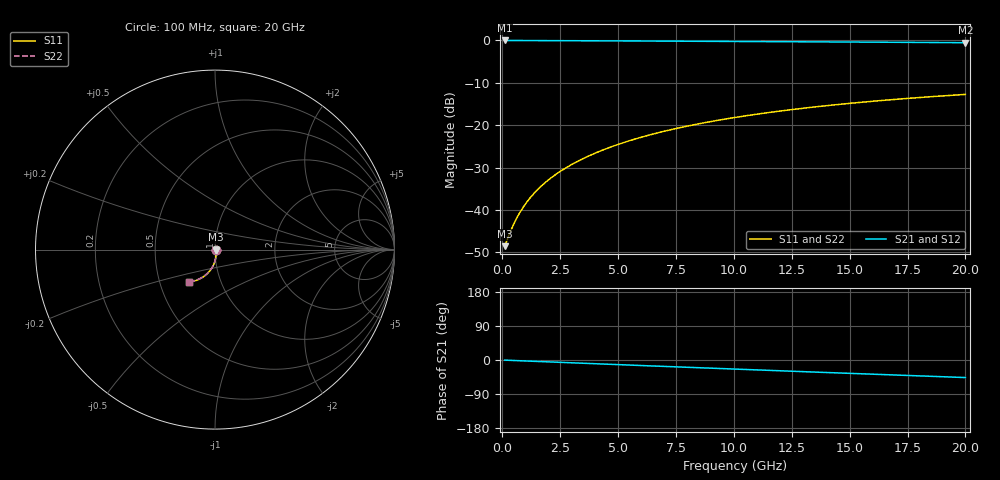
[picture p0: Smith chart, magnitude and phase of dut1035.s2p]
! Touchstone file exported from HFSS 2026.1.0
!  File:  C:/ffzhzh/LocalFiles/Ansys_Project_Files/temp_train_BSMRDL_1035_1783173664_55132.aedt
!  Generated:  10:02:14 PM Jul  4, 2026
!  Design:  BSMRDL
!  Project:  temp_train_BSMRDL_1035_1783173664_55132
! Variables:
!  h_bsmrdl = 5.49um
!  h_ox = 20um
!  h_rdl = 5um
!  h_sub = 80um
!  h_tmrdl = 5um
!  h_tsv = 80um
!  h_via = 3um
!  l_bsmrdl = 805.11um
!  l_sub = 1205.11um
!  l_tmrdl = 200um
!  m_sub = 200um
!  pitch = 17.16um
!  r_tsv = 6um
!  s_tmrdl = 10um
!  w_bsmrdl = 14.9um
!  w_sub = 500um
!  w_tmrdl = 12um
!  x_tsv_center1 = 206um
!  x_tsv_center2 = 1026.01um
!  x_tsv_center3 = 1238.01um
!  x_tsv_center4 = 2058.02um
!  x_tsv_center5 = 2270.02um
!  x_tsv_center6 = 3090.03um
# GHz S MA R 50.000000
! Terminal data exported
! Port[1] = BSM_RDL1_1_T1
! Port[2] = BSM_RDL1_1_T2
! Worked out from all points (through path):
!   200 points, 100 MHz to 20 GHz, reference 50 ohm
!   highest |S21| = -0.03 dB at 100 MHz (marker M1); lowest = -0.6 dB at 20 GHz (marker M2)
!   group delay of S21, straight-line fit = 6.41 ps
!   lowest |S11| = -48.5 dB at 100 MHz (marker M3), VSWR 1.01, Z = 50.4 - j0.0308 ohm
!   |S11| at or under -10 dB: start of sweep to end of sweep
!   |S22| runs from -48.5 to -12.8 dB; largest |S21 - S12| = 2.5e-15
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0.1  0.00375 -4.7  0.9963 -0.3  0.9963 -0.3  0.00375 -4.7
! Gamma 0 0 0 0
! Port Impedance 50 0 50 0
0.4  0.005972 -29.8  0.9947 -1.1  0.9947 -1.1  0.005972 -29.8
0.5  0.006867 -37.2  0.9944 -1.3  0.9944 -1.3  0.006866 -37.2
0.7  0.008764 -48.4  0.9939 -1.8  0.9939 -1.8  0.008761 -48.4
0.8  0.009753 -52.6  0.9937 -2.1  0.9937 -2.1  0.009749 -52.6
1  0.01179 -59.1  0.9934 -2.6  0.9934 -2.6  0.01179 -59.1
1.3  0.01496 -65.7  0.9929 -3.3  0.9929 -3.3  0.01496 -65.7
1.7  0.01934 -71.4  0.9923 -4.3  0.9923 -4.3  0.01933 -71.4
2.2  0.02501 -76.0  0.9913 -5.5  0.9913 -5.5  0.02499 -76.0
2.8  0.03203 -79.8  0.99 -7.0  0.99 -7.0  0.03202 -79.8
3.5  0.0405 -83.1  0.9883 -8.7  0.9883 -8.7  0.04048 -83.2
4.2  0.04918 -85.9  0.9865 -10.3  0.9865 -10.3  0.04916 -86.0
5  0.0593 -88.8  0.9844 -12.3  0.9844 -12.3  0.05926 -88.9
5.9  0.0708 -91.8  0.982 -14.4  0.982 -14.4  0.07076 -91.9
6.8  0.08233 -94.6  0.9795 -16.5  0.9795 -16.5  0.08228 -94.7
8.3  0.1014 -99.1  0.9753 -20.0  0.9753 -20.0  0.1014 -99.2
10.1  0.1239 -104.1  0.9701 -24.1  0.9701 -24.1  0.1238 -104.3
11.7  0.1432 -108.4  0.9653 -27.8  0.9653 -27.8  0.1431 -108.6
13.4  0.163 -112.8  0.96 -31.7  0.96 -31.7  0.1628 -113.0
15  0.1808 -116.8  0.9548 -35.3  0.9548 -35.3  0.1806 -117.1
16.7  0.1987 -120.9  0.9491 -39.1  0.9491 -39.1  0.1985 -121.2
20  0.2304 -128.6  0.9377 -46.3  0.9377 -46.3  0.2302 -129.0
